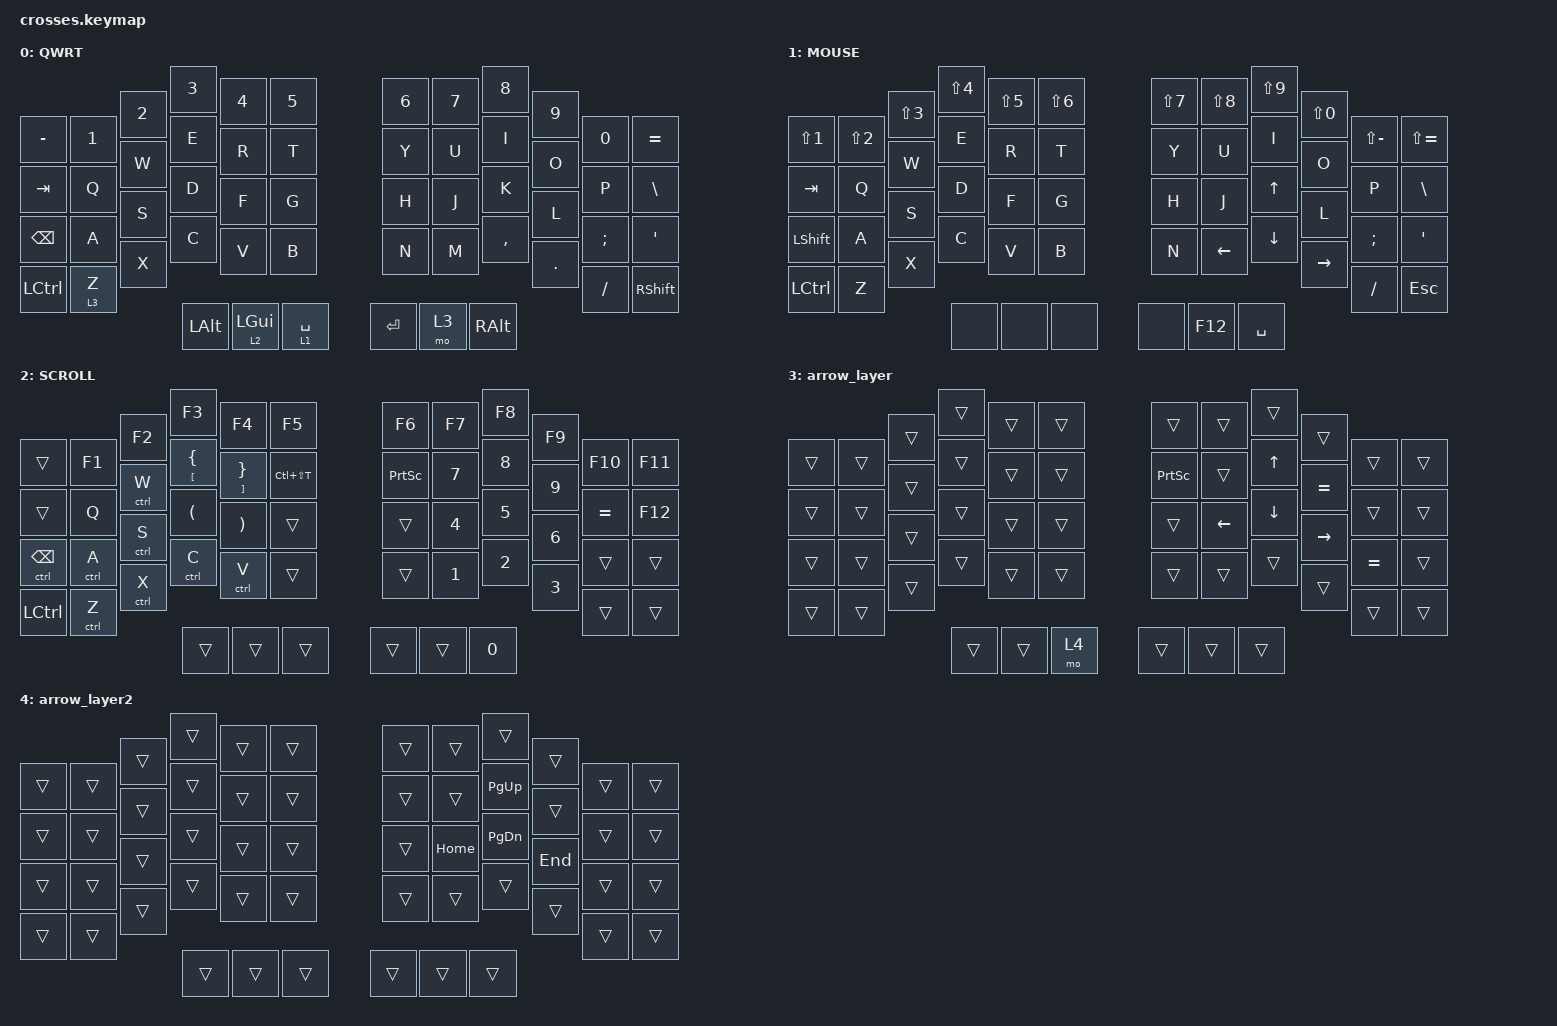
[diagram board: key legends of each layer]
#define DEFAULT 0
#define MOUSE   1
#define SCROLL  2
#define ARROW   3
#define ARROW2  4
#define KEYS_EXCLUDED_FROM_DISABLING_MOUSE_LAYER 22 31 33 34 43 44

#include <dt-bindings/zmk/mouse.h>
#include <behaviors/mouse_keys.dtsi>
#include <zephyr/dt-bindings/input/input-event-codes.h>
#include <dt-bindings/zmk/input_transform.h>
#include <input/processors.dtsi>
#include <behaviors.dtsi>
#include <dt-bindings/zmk/keys.h>

&trackball_listener {
    input-processors = <
        &zip_xy_transform (INPUT_TRANSFORM_XY_SWAP)
        &zip_x_scaler 11 10
        &zip_y_scaler 9 10
        &zip_temp_layer MOUSE 500
    >;

    scroller: scroller {
        layers = <SCROLL>;
        input-processors = <
            &zip_xy_transform (INPUT_TRANSFORM_XY_SWAP)
            &zip_xy_scaler 1 15
            &zip_xy_to_scroll_mapper
            &zip_scroll_transform (INPUT_TRANSFORM_Y_INVERT)
        >;
    };
};

&lt {
    tapping-term-ms = <200>;
    flavor = "balanced";
    quick-tap-ms = <150>;
};

/ {
    zip_temp_layer: zip_temp_layer {
        compatible = "zmk,input-processor-temp-layer";
        #input-processor-cells = <2>;
        require-prior-idle-ms = <500>;
        excluded-positions = <KEYS_EXCLUDED_FROM_DISABLING_MOUSE_LAYER>;
    };

    macros {
        ctrl: macro_ctrl_kp {
            compatible = "zmk,behavior-macro-one-param";
            #binding-cells = <1>;
            bindings =
                <&macro_press>,
                <&kp LCTRL &macro_param_1to1>,
                <&macro_tap>,
                <&kp MACRO_PLACEHOLDER>,
                <&macro_release>,
                <&kp LCTRL>;

            label = "MACRO_CTRL_KP";
        };

        csharp_lambda: csharp_lambda {
            compatible = "zmk,behavior-macro";
            #binding-cells = <0>;
            bindings = <&kp SPACE &kp EQUAL &kp GT &kp SPACE>;
            label = "CSHARP_LAMBDA";
        };
    };

    combos {
        compatible = "zmk,combos";

        combo_esc {
            bindings = <&kp ESC>;
            key-positions = <0 1>;
        };

        tilde {
            bindings = <&kp TILDE>;
            key-positions = <10 11>;
        };

        csharp_lambda {
            bindings = <&csharp_lambda>;
            key-positions = <48 22>;
            layers = <0>;
        };
    };

    keymap {
        compatible = "zmk,keymap";

        default_layer {
            bindings = <
&kp MINUS      &kp N1   &kp N2  &kp N3        &kp N4          &kp N5         &kp N6     &kp N7  &kp N8         &kp N9   &kp N0    &kp EQUAL
&kp TAB        &kp Q    &kp W   &kp E         &kp R           &kp T          &kp Y      &kp U   &kp I          &kp O    &kp P     &kp BSLH
&kp BACKSPACE  &kp A    &kp S   &kp D         &kp F           &kp G          &kp H      &kp J   &kp K          &kp L    &kp SEMI  &kp APOS
&kp LCTRL      &lt 3 Z  &kp X   &kp C         &kp V           &kp B          &kp N      &kp M   &kp COMMA      &kp DOT  &kp FSLH  &kp RSHIFT
                                &kp LEFT_ALT  &lt 2 LEFT_GUI  &lt 1 SPACE    &kp ENTER  &mo 3   &kp RIGHT_ALT
            >;

            label = "QWRT";
        };

        mouse_layer {
            bindings = <
&kp LS(N1)      &kp LS(N2)  &kp LS(N3)  &kp LS(N4)  &kp LS(N5)  &kp LS(N6)    &kp LS(N7)  &kp LS(N8)      &kp LS(N9)      &kp LS(N0)       &kp LS(MINUS)  &kp LS(EQUAL)
&kp TAB         &kp Q       &kp W       &kp E       &kp R       &kp T         &kp Y       &kp U           &kp I           &kp O            &kp P          &kp BSLH
&kp LEFT_SHIFT  &kp A       &kp S       &kp D       &kp F       &kp G         &kp H       &kp J           &kp UP_ARROW    &kp L            &kp SEMI       &kp APOS
&kp LCTRL       &kp Z       &kp X       &kp C       &kp V       &kp B         &kp N       &kp LEFT_ARROW  &kp DOWN_ARROW  &kp RIGHT_ARROW  &kp SLASH      &kp ESC
                                        &none       &none       &none         &none       &kp F12         &kp SPACE
            >;

            label = "MOUSE";
        };

        scroll_layer {
            bindings = <
&trans           &kp F1   &kp F2   &kp F3                       &kp F4                         &kp F5           &kp F6     &kp F7  &kp F8  &kp F9  &kp F10    &kp F11
&trans           &kp Q    &ctrl W  &mt LEFT_BRACKET LEFT_BRACE  &mt RIGHT_BRACKET RIGHT_BRACE  &kp LC(LS(T))    &kp PSCRN  &kp N7  &kp N8  &kp N9  &kp EQUAL  &kp F12
&ctrl BACKSPACE  &ctrl A  &ctrl S  &kp LEFT_PARENTHESIS         &kp RIGHT_PARENTHESIS          &trans           &trans     &kp N4  &kp N5  &kp N6  &trans     &trans
&kp LCTRL        &ctrl Z  &ctrl X  &ctrl C                      &ctrl V                        &trans           &trans     &kp N1  &kp N2  &kp N3  &trans     &trans
                                   &trans                       &trans                         &trans           &trans     &trans  &kp N0
            >;

            label = "SCROLL";
        };

        arrow_layer {
            bindings = <
&trans  &trans  &trans  &trans  &trans  &trans    &trans     &trans    &trans    &trans     &trans     &trans
&trans  &trans  &trans  &trans  &trans  &trans    &kp PSCRN  &trans    &kp UP    &kp EQUAL  &trans     &trans
&trans  &trans  &trans  &trans  &trans  &trans    &trans     &kp LEFT  &kp DOWN  &kp RIGHT  &kp EQUAL  &trans
&trans  &trans  &trans  &trans  &trans  &trans    &trans     &trans    &trans    &trans     &trans     &trans
                        &trans  &trans  &mo 4     &trans     &trans    &trans
            >;
        };

        arrow_layer2 {
            bindings = <
&trans  &trans  &trans  &trans  &trans  &trans    &trans  &trans    &trans     &trans   &trans  &trans
&trans  &trans  &trans  &trans  &trans  &trans    &trans  &trans    &kp PG_UP  &trans   &trans  &trans
&trans  &trans  &trans  &trans  &trans  &trans    &trans  &kp HOME  &kp PG_DN  &kp END  &trans  &trans
&trans  &trans  &trans  &trans  &trans  &trans    &trans  &trans    &trans     &trans   &trans  &trans
                        &trans  &trans  &trans    &trans  &trans    &trans
            >;
        };
    };
};
